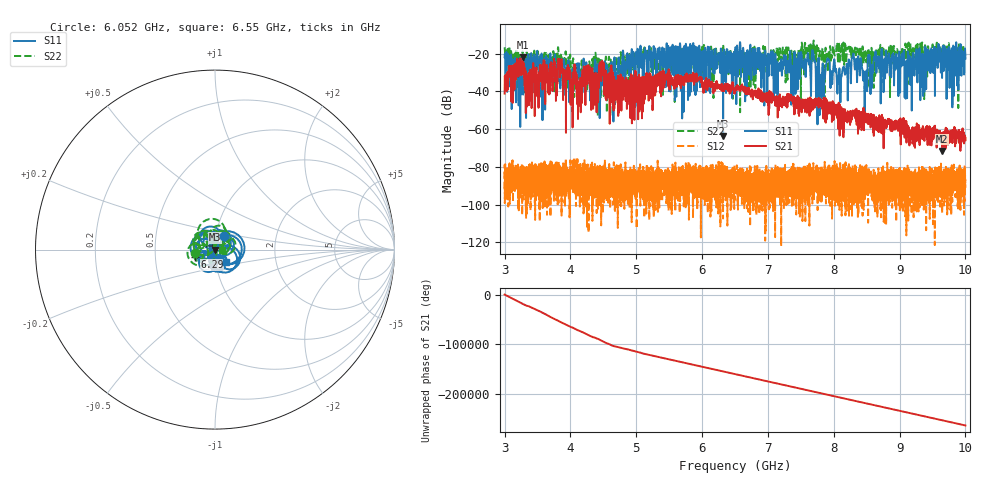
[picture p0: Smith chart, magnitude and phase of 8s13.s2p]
!Agilent Technologies,E8363B,MY43030572,A.06.04.32
!Agilent E8363B: A.06.04.32
!Date: Tuesday, June 07, 2011 08:56:36
!Correction: S11(Full 2 Port(1,2)) S21(Full 2 Port(1,2)) S12(Full 2 Port(1,2)) S22(Full 2 Port(1,2))
!S2P File: Measurements: S11, S21, S12, S22:
# Hz S  dB  R 50
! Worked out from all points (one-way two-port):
!   6401 points, 3 GHz to 10 GHz, reference 50 ohm
!   highest |S21| = -21.87 dB at 3.272 GHz (marker M1); lowest = -71.5 dB at 9.65 GHz (marker M2)
!   lowest |S11| = -63.8 dB at 6.32 GHz (marker M3), VSWR 1.00, Z = 50 + j0.0534 ohm
!   |S11| at or under -10 dB: start of sweep to end of sweep
!   |S22| runs from -53.0 to -13.0 dB; largest |S21 - S12| = 0.081
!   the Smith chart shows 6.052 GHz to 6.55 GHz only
!   S11 on the Smith chart (normalised r, x): 6.052 GHz: 1.10, +0.16; 6.29 GHz: 0.79, -0.07; 6.55 GHz: 1.11, -0.15
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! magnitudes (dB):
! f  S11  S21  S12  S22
! 3 GHz  -21.8  -41.1  -91.9  -16.6
! 3.272 GHz  -21.2  -21.9  -86.7  -18.8
! 3.348 GHz  -33.0  -36.7  -87.3  -29.3
! 3.84 GHz  -27.0  -32.4  -86.4  -21.7
! 4.167 GHz  -30.0  -36.3  -86.2  -24.4
! 4.268 GHz  -30.2  -31.7  -81.8  -28.0
! 4.379 GHz  -23.5  -30.2  -88.0  -19.5
! 4.469 GHz  -30.1  -32.8  -93.5  -25.5
! 4.691 GHz  -36.4  -34.3  -91.0  -22.3
! 5.334 GHz  -18.4  -31.0  -92.1  -25.9
! 6.052 GHz  -20.8  -34.6  -84.6  -19.1
! 6.29 GHz  -18.4  -36.9  -80.6  -19.5
! 6.32 GHz  -63.8  -38.1  -89.0  -15.3
! 6.5 GHz  -22.3  -40.7  -81.8  -25.6
! 6.55 GHz  -20.9  -38.5  -95.0  -27.9
! 7.667 GHz  -20.6  -45.1  -81.5  -17.2
! 8.08 GHz  -28.5  -58.2  -84.9  -14.8
! 8.306 GHz  -21.5  -51.5  -93.0  -17.8
! 8.475 GHz  -34.1  -53.7  -92.5  -21.0
! 8.834 GHz  -20.5  -54.9  -82.1  -21.2
! 9.65 GHz  -22.0  -71.5  -88.0  -17.4
! 10 GHz  -22.5  -64.7  -91.1  -21.6
